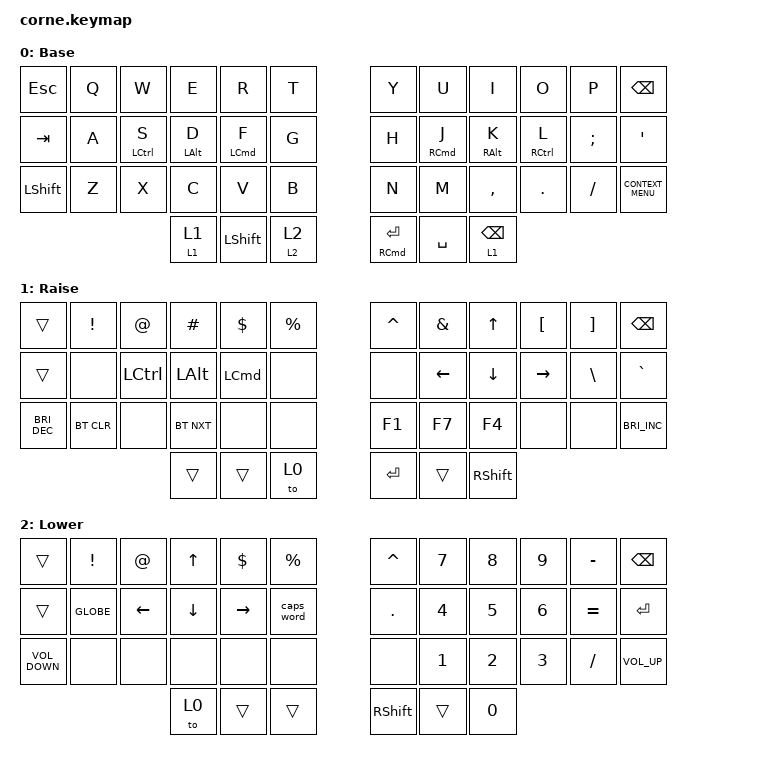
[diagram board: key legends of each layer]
/*
 * Copyright (c) 2020 The ZMK Contributors
 *
 * SPDX-License-Identifier: MIT
 */

#include <behaviors.dtsi>
#include <dt-bindings/zmk/bt.h>
#include <dt-bindings/zmk/keys.h>

/ {
    behaviors {
        Tap_dance: Tap_dance {
            compatible = "zmk,behavior-tap-dance";
            label = "TAP_DANCE";
            #binding-cells = <0>;
            bindings = <&kp LEFT_SHIFT>, <&kp C_BRIGHTNESS_DEC>;
        };

        left_positional_hold_tap: left_positional_hold_tap {
            compatible = "zmk,behavior-hold-tap";
            label = "LEFT_POSITIONAL_HOLD_TAP";
            bindings = <&kp>, <&kp>;

            #binding-cells = <2>;
            tapping-term-ms = <200>;
            quick-tap-ms = <0>;
            flavor = "tap-preferred";
            hold-trigger-key-positions = <6 7 8 9 10 11 22 23 34 35 18 19 20 21 30 31 32 33 41 39 40>;
        };

        right_positional_hold_tap: right_positional_hold_tap {
            compatible = "zmk,behavior-hold-tap";
            label = "RIGHT_POSITIONAL_HOLD_TAP";
            bindings = <&kp>, <&kp>;

            #binding-cells = <2>;
            tapping-term-ms = <200>;
            quick-tap-ms = <0>;
            flavor = "tap-preferred";
            hold-trigger-key-positions = <0 1 2 3 4 5 12 13 14 15 16 17 24 25 26 27 28 29 36 37 38>;
        };

        behavior_mo_tog: behavior_mo_tog {
            compatible = "zmk,behavior-hold-tap";
            label = "BEHAVIOR_MO_TOG";
            bindings = <&mo>, <&tog>;

            #binding-cells = <2>;
            tapping-term-ms = <200>;
        };
    };

    keymap {
        compatible = "zmk,keymap";

        default_layer {
            // -----------------------------------------------------------------------------------------
            // |  TAB |  Q  |  W  |  E  |  R  |  T  |   |  Y  |  U   |  I  |  O  |  P  | BKSP |
            // | CTRL |  A  |  S  |  D  |  F  |  G  |   |  H  |  J   |  K  |  L  |  ;  |  '   |
            // | SHFT |  Z  |  X  |  C  |  V  |  B  |   |  N  |  M   |  ,  |  .  |  /  | ESC  |
            //                    | GUI | LWR | SPC |   | ENT | RSE  | ALT |

            label = "Base";
            bindings = <
&kp ESC         &kp Q  &kp W                                     &kp E                                 &kp R                                     &kp T                   &kp Y                    &kp U                                       &kp I                                   &kp O                                       &kp P     &kp BSPC
&kp TAB         &kp A  &left_positional_hold_tap LEFT_CONTROL S  &left_positional_hold_tap LEFT_ALT D  &left_positional_hold_tap LEFT_COMMAND F  &kp G                   &kp H                    &right_positional_hold_tap RIGHT_COMMAND J  &right_positional_hold_tap RIGHT_ALT K  &right_positional_hold_tap RIGHT_CONTROL L  &kp SEMI  &kp SQT
&kp LEFT_SHIFT  &kp Z  &kp X                                     &kp C                                 &kp V                                     &kp B                   &kp N                    &kp M                                       &kp COMMA                               &kp DOT                                     &kp FSLH  &kp K_CONTEXT_MENU
                                                                 &behavior_mo_tog 1 1                  &kp LSHIFT                                &behavior_mo_tog 2 2    &mt RIGHT_COMMAND ENTER  &kp SPACE                                   &lt 1 BACKSPACE
            >;
        };

        raise_layer {
            // -----------------------------------------------------------------------------------------
            // |  TAB |  !  |  @  |  #  |  $  |  %  |   |  ^  |  &  |  *  |  (  |  )  | BKSP |
            // | CTRL |     |     |     |     |     |   |  -  |  =  |  [  |  ]  |  \  |  `   |
            // | SHFT |     |     |     |     |     |   |  _  |  +  |  {  |  }  | "|" |  ~   |
            //                    | GUI |     | SPC |   | ENT |     | ALT |

            label = "Raise";
            bindings = <
&trans                &kp EXCL    &kp AT            &kp HASH      &kp DLLR          &kp PRCNT    &kp CARET  &kp AMPS        &kp UP_ARROW     &kp LEFT_BRACKET  &kp RIGHT_BRACKET  &kp BSPC
&trans                &none       &kp LEFT_CONTROL  &kp LEFT_ALT  &kp LEFT_COMMAND  &none        &none      &kp LEFT_ARROW  &kp DOWN_ARROW   &kp RIGHT         &kp BSLH           &kp GRAVE
&kp C_BRIGHTNESS_DEC  &bt BT_CLR  &none             &bt BT_NXT    &none             &none        &kp F1     &kp F7          &kp F4           &none             &none              &kp C_BRIGHTNESS_INC
                                                    &trans        &trans            &to 0        &kp RET    &trans          &kp RIGHT_SHIFT
            >;
        };

        lower_layer {
            // -----------------------------------------------------------------------------------------
            // |  TAB |  1  |  2  |  3  |  4  |  5  |   |  6  |  7  |  8  |  9  |  0  | BKSP |
            // | BTCLR| BT1 | BT2 | BT3 | BT4 | BT5 |   | LFT | DWN |  UP | RGT |     |      |
            // | SHFT |     |     |     |     |     |   |     |     |     |     |     |      |
            //                    | GUI |     | SPC |   | ENT |     | ALT |

            label = "Lower";
            bindings = <
&trans             &kp EXCLAMATION  &kp AT_SIGN     &kp UP_ARROW    &kp DOLLAR  &kp PERCENT    &kp CARET        &kp NUMBER_7  &kp NUMBER_8  &kp N9        &kp MINUS  &kp BSPC
&trans             &kp GLOBE        &kp LEFT_ARROW  &kp DOWN_ARROW  &kp RIGHT   &caps_word     &kp PERIOD       &kp NUMBER_4  &kp NUMBER_5  &kp NUMBER_6  &kp EQUAL  &kp ENTER
&kp C_VOLUME_DOWN  &none            &none           &none           &none       &none          &none            &kp NUMBER_1  &kp NUMBER_2  &kp NUMBER_3  &kp SLASH  &kp C_VOL_UP
                                                    &to 0           &trans      &trans         &kp RIGHT_SHIFT  &trans        &kp NUMBER_0
            >;
        };
    };
};
